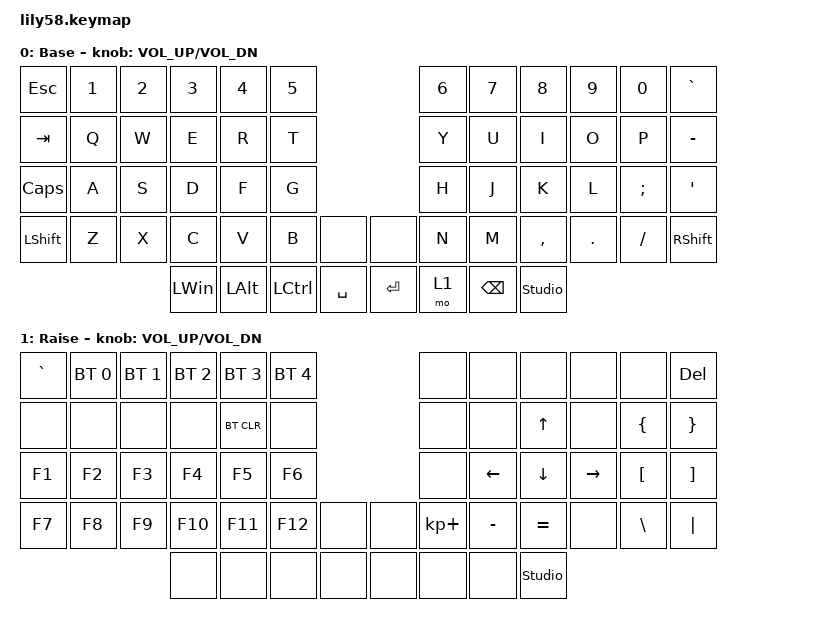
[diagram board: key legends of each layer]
/*
 * Copyright (c) 2020 The ZMK Contributors
 *
 * SPDX-License-Identifier: MIT
 */

#include <behaviors.dtsi>
#include <dt-bindings/zmk/bt.h>
#include <dt-bindings/zmk/keys.h>

/ {
    behaviors {
        ht: hold-tap {
            compatible = "zmk,behavior-hold-tap";
            label = "hold-tap";
            bindings = <&kp>, <&kp>;

            #binding-cells = <2>;
            tapping-term-ms = <800>;
            flavor = "tap-preferred";
        };

        td: td {
            compatible = "zmk,behavior-tap-dance";
            label = "tap-dance";
            #binding-cells = <0>;
            bindings = <&mo 1>;
            tapping-term-ms = <1000>;
        };
    };

    keymap {
        compatible = "zmk,keymap";

        Default {
            // ------------------------------------------------------------------------------------------------------------
            // |  ESC  |  1  |  2  |  3   |  4   |  5   |                   |  6   |  7    |  8    |  9   |   0   |   `   |
            // |  TAB  |  Q  |  W  |  E   |  R   |  T   |                   |  Y   |  U    |  I    |  O   |   P   |   -   |
            // |  CTRL |  A  |  S  |  D   |  F   |  G   |                   |  H   |  J    |  K    |  L   |   ;   |   '   |
            // | SHIFT |  Z  |  X  |  C   |  V   |  B   |   "["  |  |  "]"  |  N   |  M    |  ,    |  .   |   /   | SHIFT |
            //                     | ALT  | GUI  | LOWER|  SPACE |  | ENTER | RAISE| BSPC  | GUI   |

            display-name = "Base";
            bindings = <
&kp ESC       &kp NUMBER_1  &kp NUMBER_2  &kp NUMBER_3  &kp NUMBER_4  &kp N5                                  &kp N6  &kp N7    &kp N8          &kp N9   &kp N0    &kp GRAVE
&kp TAB       &kp Q         &kp W         &kp E         &kp R         &kp T                                   &kp Y   &kp U     &kp I           &kp O    &kp P     &kp MINUS
&kp CAPSLOCK  &kp A         &kp S         &kp D         &kp F         &kp G                                   &kp H   &kp J     &kp K           &kp L    &kp SEMI  &kp SQT
&kp LSHFT     &kp Z         &kp X         &kp C         &kp V         &kp B             &none        &none    &kp N   &kp M     &kp COMMA       &kp DOT  &kp FSLH  &kp RSHFT
                                          &kp LWIN      &kp LEFT_ALT  &kp LEFT_CONTROL  &kp SPACE    &kp RET  &mo 1   &kp BSPC  &studio_unlock
            >;

            sensor-bindings = <&inc_dec_kp C_VOL_UP C_VOL_DN>;
        };

        layer_3 {
            display-name = "Raise";
            bindings = <
&kp GRAVE  &bt BT_SEL 0  &bt BT_SEL 1  &bt BT_SEL 2  &bt BT_SEL 3  &bt BT_SEL 4                  &none        &none      &none           &none      &none             &kp DELETE
&none      &none         &none         &none         &bt BT_CLR    &none                         &none        &none      &kp UP          &none      &kp LEFT_BRACE    &kp RIGHT_BRACE
&kp F1     &kp F2        &kp F3        &kp F4        &kp F5        &kp F6                        &none        &kp LEFT   &kp DOWN        &kp RIGHT  &kp LEFT_BRACKET  &kp RIGHT_BRACKET
&kp F7     &kp F8        &kp F9        &kp F10       &kp F11       &kp F12       &none    &none  &kp KP_PLUS  &kp MINUS  &kp EQUAL       &none      &kp BACKSLASH     &kp PIPE
                                       &none         &none         &none         &none    &none  &none        &none      &studio_unlock
            >;

            sensor-bindings = <&inc_dec_kp C_VOL_UP C_VOL_DN>;
        };
    };
};
